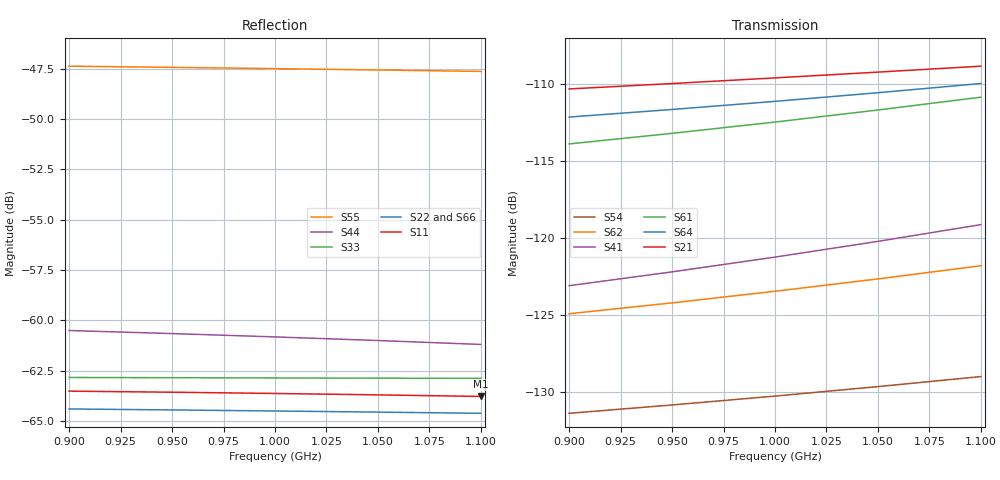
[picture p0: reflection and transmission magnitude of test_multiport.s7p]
! Touchstone file from project test_multiport
! Exported from HFSS 2019.2.0
!Data is not renormalized
# GHZ S MA
! Modal data exported
! Port[1] = 1:1
! Port[2] = 2:1
! Port[3] = 3:1
! Port[4] = 4:1
! Port[5] = 5:1
! Port[6] = 6:1
! Port[7] = 7:1
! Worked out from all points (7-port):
!   5 points, 900 MHz to 1.1 GHz, reference per port
!   strongest paths, dB at 900 MHz, 950 MHz, 1 GHz, 1.05 GHz, 1.1 GHz:
!     S21: -110.3, -110.0, -109.6, -109.2, -108.8
!     S64: -112.1, -111.6, -111.1, -110.6, -110.0
!     S61: -113.9, -113.2, -112.5, -111.7, -110.8
!     S41: -123.1, -122.2, -121.2, -120.2, -119.1
!     S62: -124.9, -124.2, -123.5, -122.7, -121.8
!     S54: -131.4, -130.9, -130.3, -129.7, -129.0
!   lowest |S11| = -63.8 dB at 1.1 GHz (marker M1), VSWR 1.00
!   |S11| at or under -10 dB: start of sweep to end of sweep
